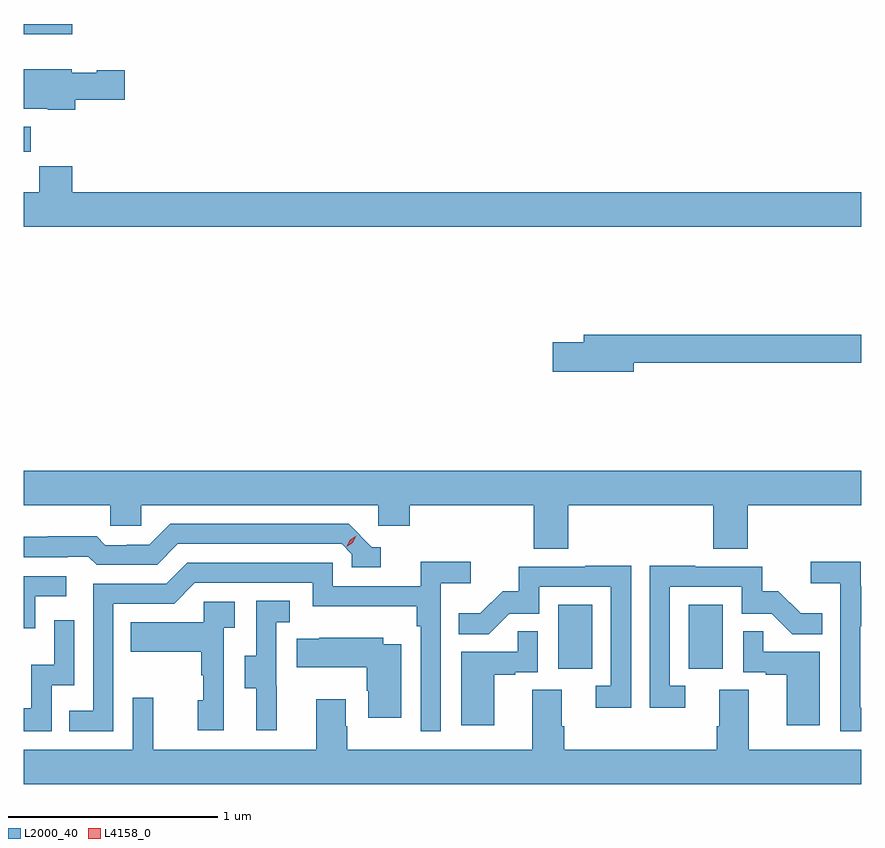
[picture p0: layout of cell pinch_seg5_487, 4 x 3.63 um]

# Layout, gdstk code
import gdstk
lib = gdstk.Library(unit=1e-6, precision=1e-09)
def R(c, l, rs):  # rectangles x0, y0, x1, y1
    for r in rs: c.add(gdstk.rectangle(r[:2], r[2:], *l))
def P(c, l, *ps):  # polygons
    for p in ps: c.add(gdstk.Polygon(p, *l))
L2000_40 = (2000, 40)
L4158_0 = (4158, 0)

pinch_seg5_487 = lib.new_cell('pinch_seg5_487')
R(pinch_seg5_487, L2000_40, [(912.392,835.998,912.556,836.305), (913.016,835.998,913.18,836.305), (909.84,838.47,909.872,838.588), (909.84,839.03,910.07,839.08)])
P(pinch_seg5_487, L2000_40, [(910.085,838.717),(910.321,838.717),(910.321,838.859),(910.188,838.859),(910.188,838.846),(910.068,838.846),(910.068,838.864),(909.84,838.864),(909.84,838.676),(909.954,838.676),(909.954,838.67),(910.085,838.67)],
  [(913.84,838.276),(910.07,838.276),(910.07,838.4),(909.913,838.4),(909.913,838.276),(909.84,838.276),(909.84,838.112),(913.84,838.112)],
  [(912.754,837.46),(913.84,837.46),(913.84,837.596),(912.515,837.596),(912.515,837.56),(912.366,837.56),(912.366,837.418),(912.754,837.418)],
  [(912.44,836.78),(913.133,836.78),(913.133,836.572),(913.298,836.572),(913.298,836.78),(913.84,836.78),(913.84,836.944),(909.84,836.944),(909.84,836.78),(910.251,836.78),(910.251,836.682),(910.401,836.682),(910.401,836.78),(911.532,836.78),(911.532,836.682),(911.684,836.682),(911.684,836.78),(912.275,836.78),(912.275,836.572),(912.44,836.572)],
  [(911.545,836.58),(911.502,836.58),(911.391,836.691),(910.538,836.691),(910.439,836.592),(910.332,836.592),(910.332,836.589),(910.229,836.589),(910.187,836.632),(909.954,836.632),(909.954,836.629),(909.84,836.629),(909.84,836.532),(910.049,836.532),(910.049,836.535),(910.148,836.535),(910.187,836.496),(910.476,836.496),(910.575,836.595),(911.358,836.595),(911.406,836.547),(911.406,836.484),(911.545,836.484)],
  [(913.84,835.813),(913.836,835.813),(913.836,836.201),(913.84,836.201),(913.84,836.394),(913.838,836.394),(913.838,836.51),(913.599,836.51),(913.599,836.408),(913.74,836.408),(913.74,835.701),(913.84,835.701)],
  [(910.266,836.31),(910.557,836.31),(910.656,836.409),(911.22,836.409),(911.22,836.297),(911.716,836.297),(911.716,836.201),(911.736,836.201),(911.736,835.701),(911.832,835.701),(911.832,836.408),(911.974,836.408),(911.974,836.51),(911.735,836.51),(911.735,836.394),(911.316,836.394),(911.316,836.505),(910.619,836.505),(910.52,836.406),(910.17,836.406),(910.17,835.797),(910.057,835.797),(910.057,835.701),(910.266,835.701)],
  [(913,835.917),(912.927,835.917),(912.927,836.391),(913.269,836.391),(913.269,836.262),(913.413,836.262),(913.511,836.164),(913.655,836.164),(913.655,836.263),(913.551,836.263),(913.444,836.37),(913.368,836.37),(913.368,836.487),(913.049,836.487),(913.049,836.492),(912.831,836.492),(912.831,835.812),(913,835.812)],
  [(912.741,836.492),(912.523,836.492),(912.523,836.487),(912.205,836.487),(912.205,836.37),(912.128,836.37),(912.021,836.263),(911.917,836.263),(911.917,836.164),(912.061,836.164),(912.159,836.262),(912.303,836.262),(912.303,836.391),(912.645,836.391),(912.645,835.917),(912.573,835.917),(912.573,835.812),(912.741,835.812)],
  [(909.894,836.346),(910.042,836.346),(910.042,836.442),(909.84,836.442),(909.84,836.193),(909.894,836.193)],
  [(911.048,835.917),(911.046,835.917),(911.046,836.221),(911.11,836.221),(911.11,836.324),(910.95,836.324),(910.95,836.061),(910.895,836.061),(910.895,835.906),(910.949,835.906),(910.949,835.704),(911.048,835.704)],
  [(910.794,836.195),(910.846,836.195),(910.846,836.319),(910.698,836.319),(910.698,836.221),(910.351,836.221),(910.351,836.081),(910.686,836.081),(910.686,835.967),(910.696,835.967),(910.696,835.848),(910.67,835.848),(910.67,835.704),(910.794,835.704)],
  [(909.972,835.92),(910.08,835.92),(910.08,836.23),(909.984,836.23),(909.984,836.018),(909.875,836.018),(909.875,835.81),(909.84,835.81),(909.84,835.701),(909.972,835.701)],
  [(913.642,836.079),(913.373,836.079),(913.373,836.177),(913.278,836.177),(913.278,835.983),(913.385,835.983),(913.385,835.971),(913.484,835.971),(913.484,835.728),(913.642,835.728)],
  [(912.088,835.971),(912.188,835.971),(912.188,835.983),(912.294,835.983),(912.294,836.177),(912.199,836.177),(912.199,836.079),(911.93,836.079),(911.93,835.728),(912.088,835.728)],
  [(911.644,836.116),(911.557,836.116),(911.557,836.146),(911.251,836.146),(911.251,836.143),(911.143,836.143),(911.143,836.006),(911.479,836.006),(911.479,835.893),(911.486,835.893),(911.486,835.764),(911.644,835.764)],
  [(913.84,835.612),(913.303,835.612),(913.303,835.898),(913.163,835.898),(913.163,835.724),(913.151,835.724),(913.151,835.612),(912.422,835.612),(912.422,835.724),(912.409,835.724),(912.409,835.898),(912.269,835.898),(912.269,835.612),(911.385,835.612),(911.385,835.724),(911.377,835.724),(911.377,835.852),(911.237,835.852),(911.237,835.612),(910.457,835.612),(910.457,835.861),(910.359,835.861),(910.359,835.612),(909.84,835.612),(909.84,835.448),(913.84,835.448)])
P(pinch_seg5_487, L4158_0, [(911.382,836.581),(911.382,836.581),(911.397,836.614),(911.427,836.635),(911.427,836.635),(911.427,836.634),(911.412,836.601),(911.382,836.581)])

lib.write_gds('pinch_seg5_487.gds')
